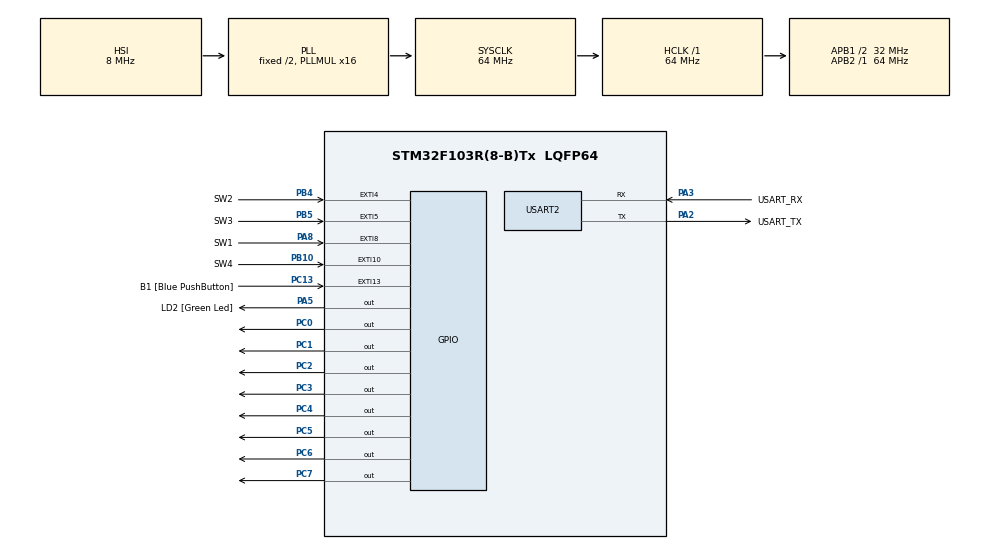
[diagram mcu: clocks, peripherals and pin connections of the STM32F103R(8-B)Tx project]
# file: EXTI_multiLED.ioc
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Mcu.Family=STM32F1
Mcu.Name=STM32F103R(8-B)Tx
Mcu.Package=LQFP64
NVIC.EXTI15_10_IRQn=true\:0\:0\:false\:false\:true\:true\:true\:true
NVIC.EXTI4_IRQn=true\:0\:0\:false\:false\:true\:true\:true\:true
NVIC.EXTI9_5_IRQn=true\:0\:0\:false\:false\:true\:true\:true\:true
NVIC.PriorityGroup=NVIC_PRIORITYGROUP_4
PA13.GPIO_Label=TMS
PA13.Mode=Serial_Wire
PA13.Signal=SYS_JTMS-SWDIO
PA14.GPIO_Label=TCK
PA14.Mode=Serial_Wire
PA14.Signal=SYS_JTCK-SWCLK
PA2.GPIO_Label=USART_TX
PA2.GPIO_Mode=GPIO_MODE_AF_PP
PA2.GPIO_PuPd=GPIO_NOPULL
PA2.GPIO_Speed=GPIO_SPEED_FREQ_LOW
PA2.Mode=Asynchronous
PA2.Signal=USART2_TX
PA3.GPIO_Label=USART_RX
PA3.GPIO_Mode=GPIO_MODE_AF_PP
PA3.GPIO_PuPd=GPIO_NOPULL
PA3.GPIO_Speed=GPIO_SPEED_FREQ_LOW
PA3.Mode=Asynchronous
PA3.Signal=USART2_RX
PA5.GPIO_Label=LD2 [Green Led]
PA5.GPIO_ModeDefaultOutputPP=GPIO_MODE_OUTPUT_PP
PA5.GPIO_PuPd=GPIO_NOPULL
PA5.GPIO_Speed=GPIO_SPEED_FREQ_LOW
PA5.Signal=GPIO_Output
PA8.GPIO_Label=SW1
PA8.GPIO_ModeDefaultEXTI=GPIO_MODE_IT_FALLING
PA8.Signal=GPXTI8
PB10.GPIO_Label=SW4
PB10.GPIO_ModeDefaultEXTI=GPIO_MODE_IT_FALLING
PB10.Signal=GPXTI10
PB3.GPIO_Label=SWO
PB3.Signal=SYS_JTDO-TRACESWO
PB4.GPIO_Label=SW2
PB4.GPIO_ModeDefaultEXTI=GPIO_MODE_IT_FALLING
PB4.Signal=GPXTI4
PB5.GPIO_Label=SW3
PB5.GPIO_ModeDefaultEXTI=GPIO_MODE_IT_FALLING
PB5.Signal=GPXTI5
PC0.Signal=GPIO_Output
PC1.Signal=GPIO_Output
PC13-TAMPER-RTC.GPIO_Label=B1 [Blue PushButton]
PC13-TAMPER-RTC.GPIO_PuPd=GPIO_NOPULL
PC13-TAMPER-RTC.Signal=GPXTI13
PC14-OSC32_IN.Mode=LSE-External-Oscillator
PC14-OSC32_IN.Signal=RCC_OSC32_IN
PC15-OSC32_OUT.Mode=LSE-External-Oscillator
PC15-OSC32_OUT.Signal=RCC_OSC32_OUT
PC2.Signal=GPIO_Output
PC3.Signal=GPIO_Output
PC4.Signal=GPIO_Output
PC5.Signal=GPIO_Output
PC6.Signal=GPIO_Output
PC7.Signal=GPIO_Output
PD0-OSC_IN.Mode=HSE-External-Clock-Source
PD0-OSC_IN.Signal=RCC_OSC_IN
PD1-OSC_OUT.Mode=HSE-External-Clock-Source
PD1-OSC_OUT.Signal=RCC_OSC_OUT
ProjectManager.HeapSize=0x200
ProjectManager.StackSize=0x400
ProjectManager.TargetToolchain=STM32CubeIDE
RCC.AHBFreq_Value=64000000
RCC.APB1CLKDivider=RCC_HCLK_DIV2
RCC.APB1Freq_Value=32000000
RCC.APB1TimFreq_Value=64000000
RCC.APB2Freq_Value=64000000
RCC.APB2TimFreq_Value=64000000
RCC.HCLKFreq_Value=64000000
RCC.PLLMUL=RCC_PLL_MUL16
RCC.RTCClockSelection=RCC_RTCCLKSOURCE_LSE
RCC.SYSCLKFreq_VALUE=64000000
RCC.SYSCLKSource=RCC_SYSCLKSOURCE_PLLCLK
RCC.USBFreq_Value=64000000
USART2.VirtualMode=VM_ASYNC
board=NUCLEO-F103RB

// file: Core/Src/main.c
/* USER CODE BEGIN Header */
/**
 ******************************************************************************
 * @file           : main.c
 * @brief          : Main program body
 ******************************************************************************
 * @attention
 *
 * Copyright (c) 2022 STMicroelectronics.
 * All rights reserved.
 *
 * This software is licensed under terms that can be found in the LICENSE file
 * in the root directory of this software component.
 * If no LICENSE file comes with this software, it is provided AS-IS.
 *
 ******************************************************************************
 */
/* USER CODE END Header */
#include "main.h"

UART_HandleTypeDef huart2;

/* USER CODE BEGIN PV */
uint8_t flag_SW = 0;
/* USER CODE END PV */

void SystemClock_Config(void);
static void MX_GPIO_Init(void);
static void MX_USART2_UART_Init(void);

int main(void) {

	/* MCU Configuration--------------------------------------------------------*/

	/* Reset of all peripherals, Initializes the Flash interface and the Systick. */
	HAL_Init();

	/* Configure the system clock */
	SystemClock_Config();

	/* Initialize all configured peripherals */
	MX_GPIO_Init();
	MX_USART2_UART_Init();
	/* USER CODE BEGIN 2 */
	HAL_GPIO_WritePin(GPIOC, GPIO_PIN_All, GPIO_PIN_SET);
	HAL_Delay(1000);
	HAL_GPIO_WritePin(GPIOC, GPIO_PIN_All, GPIO_PIN_RESET);
	/* USER CODE END 2 */

	/* Infinite loop */
	/* USER CODE BEGIN WHILE */
	while (1) {
		if (flag_SW == 1) {
			//HAL_GPIO_WritePin(GPIOC, 0x03, GPIO_PIN_SET);
			HAL_GPIO_TogglePin(GPIOC, 0x03);
			HAL_Delay(10);
			flag_SW=0;
		} else if (flag_SW == 2) {
			HAL_GPIO_TogglePin(GPIOC, 0x0c & ~0x03);
			HAL_Delay(10);
			flag_SW=0;
		} else if (flag_SW == 3) {
			HAL_GPIO_TogglePin(GPIOC, 0x30 & ~0x0c);
			HAL_Delay(10);
			flag_SW=0;
		} else if (flag_SW == 4) {
			HAL_GPIO_TogglePin(GPIOC, 0xc0 & ~0x30);
			HAL_Delay(10);
			flag_SW=0;
		}
		//HAL_GPIO_WritePin(GPIOC, GPIO_PIN_All, GPIO_PIN_RESET);
		/* USER CODE END WHILE */

	}
}

void SystemClock_Config(void) {
	RCC_OscInitTypeDef RCC_OscInitStruct = { 0 };
	RCC_ClkInitTypeDef RCC_ClkInitStruct = { 0 };

	/** Initializes the RCC Oscillators according to the specified parameters
	 * in the RCC_OscInitTypeDef structure.
	 */
	RCC_OscInitStruct.OscillatorType = RCC_OSCILLATORTYPE_HSI;
	RCC_OscInitStruct.HSIState = RCC_HSI_ON;
	RCC_OscInitStruct.HSICalibrationValue = RCC_HSICALIBRATION_DEFAULT;
	RCC_OscInitStruct.PLL.PLLState = RCC_PLL_ON;
	RCC_OscInitStruct.PLL.PLLSource = RCC_PLLSOURCE_HSI_DIV2;
	RCC_OscInitStruct.PLL.PLLMUL = RCC_PLL_MUL16;
	if (HAL_RCC_OscConfig(&RCC_OscInitStruct) != HAL_OK) {
		Error_Handler();
	}

	/** Initializes the CPU, AHB and APB buses clocks
	 */
	RCC_ClkInitStruct.ClockType = RCC_CLOCKTYPE_HCLK | RCC_CLOCKTYPE_SYSCLK
			| RCC_CLOCKTYPE_PCLK1 | RCC_CLOCKTYPE_PCLK2;
	RCC_ClkInitStruct.SYSCLKSource = RCC_SYSCLKSOURCE_PLLCLK;
	RCC_ClkInitStruct.AHBCLKDivider = RCC_SYSCLK_DIV1;
	RCC_ClkInitStruct.APB1CLKDivider = RCC_HCLK_DIV2;
	RCC_ClkInitStruct.APB2CLKDivider = RCC_HCLK_DIV1;

	if (HAL_RCC_ClockConfig(&RCC_ClkInitStruct, FLASH_LATENCY_2) != HAL_OK) {
		Error_Handler();
	}
}

static void MX_USART2_UART_Init(void) {

	huart2.Instance = USART2;
	huart2.Init.BaudRate = 115200;
	huart2.Init.WordLength = UART_WORDLENGTH_8B;
	huart2.Init.StopBits = UART_STOPBITS_1;
	huart2.Init.Parity = UART_PARITY_NONE;
	huart2.Init.Mode = UART_MODE_TX_RX;
	huart2.Init.HwFlowCtl = UART_HWCONTROL_NONE;
	huart2.Init.OverSampling = UART_OVERSAMPLING_16;
	if (HAL_UART_Init(&huart2) != HAL_OK) {
		Error_Handler();
	}

}

static void MX_GPIO_Init(void) {
	GPIO_InitTypeDef GPIO_InitStruct = { 0 };

	/* GPIO Ports Clock Enable */
	__HAL_RCC_GPIOC_CLK_ENABLE();
	__HAL_RCC_GPIOD_CLK_ENABLE();
	__HAL_RCC_GPIOA_CLK_ENABLE();
	__HAL_RCC_GPIOB_CLK_ENABLE();

	/*Configure GPIO pin Output Level */
	HAL_GPIO_WritePin(GPIOC,
			GPIO_PIN_0 | GPIO_PIN_1 | GPIO_PIN_2 | GPIO_PIN_3 | GPIO_PIN_4
					| GPIO_PIN_5 | GPIO_PIN_6 | GPIO_PIN_7, GPIO_PIN_RESET);

	/*Configure GPIO pin Output Level */
	HAL_GPIO_WritePin(LD2_GPIO_Port, LD2_Pin, GPIO_PIN_RESET);

	/*Configure GPIO pin : B1_Pin */
	GPIO_InitStruct.Pin = B1_Pin;
	GPIO_InitStruct.Mode = GPIO_MODE_IT_RISING;
	GPIO_InitStruct.Pull = GPIO_NOPULL;
	HAL_GPIO_Init(B1_GPIO_Port, &GPIO_InitStruct);

	/*Configure GPIO pins : PC0 PC1 PC2 PC3
	 PC4 PC5 PC6 PC7 */
	GPIO_InitStruct.Pin = GPIO_PIN_0 | GPIO_PIN_1 | GPIO_PIN_2 | GPIO_PIN_3
			| GPIO_PIN_4 | GPIO_PIN_5 | GPIO_PIN_6 | GPIO_PIN_7;
	GPIO_InitStruct.Mode = GPIO_MODE_OUTPUT_PP;
	GPIO_InitStruct.Pull = GPIO_NOPULL;
	GPIO_InitStruct.Speed = GPIO_SPEED_FREQ_LOW;
	HAL_GPIO_Init(GPIOC, &GPIO_InitStruct);

	/*Configure GPIO pin : LD2_Pin */
	GPIO_InitStruct.Pin = LD2_Pin;
	GPIO_InitStruct.Mode = GPIO_MODE_OUTPUT_PP;
	GPIO_InitStruct.Pull = GPIO_NOPULL;
	GPIO_InitStruct.Speed = GPIO_SPEED_FREQ_LOW;
	HAL_GPIO_Init(LD2_GPIO_Port, &GPIO_InitStruct);

	/*Configure GPIO pins : SW4_Pin SW2_Pin SW3_Pin */
	GPIO_InitStruct.Pin = SW4_Pin | SW2_Pin | SW3_Pin;
	GPIO_InitStruct.Mode = GPIO_MODE_IT_FALLING;
	GPIO_InitStruct.Pull = GPIO_NOPULL;
	HAL_GPIO_Init(GPIOB, &GPIO_InitStruct);

	/*Configure GPIO pin : SW1_Pin */
	GPIO_InitStruct.Pin = SW1_Pin;
	GPIO_InitStruct.Mode = GPIO_MODE_IT_FALLING;
	GPIO_InitStruct.Pull = GPIO_NOPULL;
	HAL_GPIO_Init(SW1_GPIO_Port, &GPIO_InitStruct);

	/* EXTI interrupt init*/
	HAL_NVIC_SetPriority(EXTI4_IRQn, 0, 0);
	HAL_NVIC_EnableIRQ(EXTI4_IRQn);

	HAL_NVIC_SetPriority(EXTI9_5_IRQn, 0, 0);
	HAL_NVIC_EnableIRQ(EXTI9_5_IRQn);

	HAL_NVIC_SetPriority(EXTI15_10_IRQn, 0, 0);
	HAL_NVIC_EnableIRQ(EXTI15_10_IRQn);

}

/* USER CODE BEGIN 4 */
void HAL_GPIO_EXTI_Callback(uint16_t GPIO_Pin) {
	if (GPIO_Pin == SW1_Pin)
		flag_SW = 1;
	else if (GPIO_Pin == SW2_Pin)
		flag_SW = 2;
	else if (GPIO_Pin == SW3_Pin)
		flag_SW = 3;
	else if (GPIO_Pin == SW4_Pin)
		flag_SW = 4;
}
/* USER CODE END 4 */

void Error_Handler(void) {
	__disable_irq();
	while (1) {
	}
}
